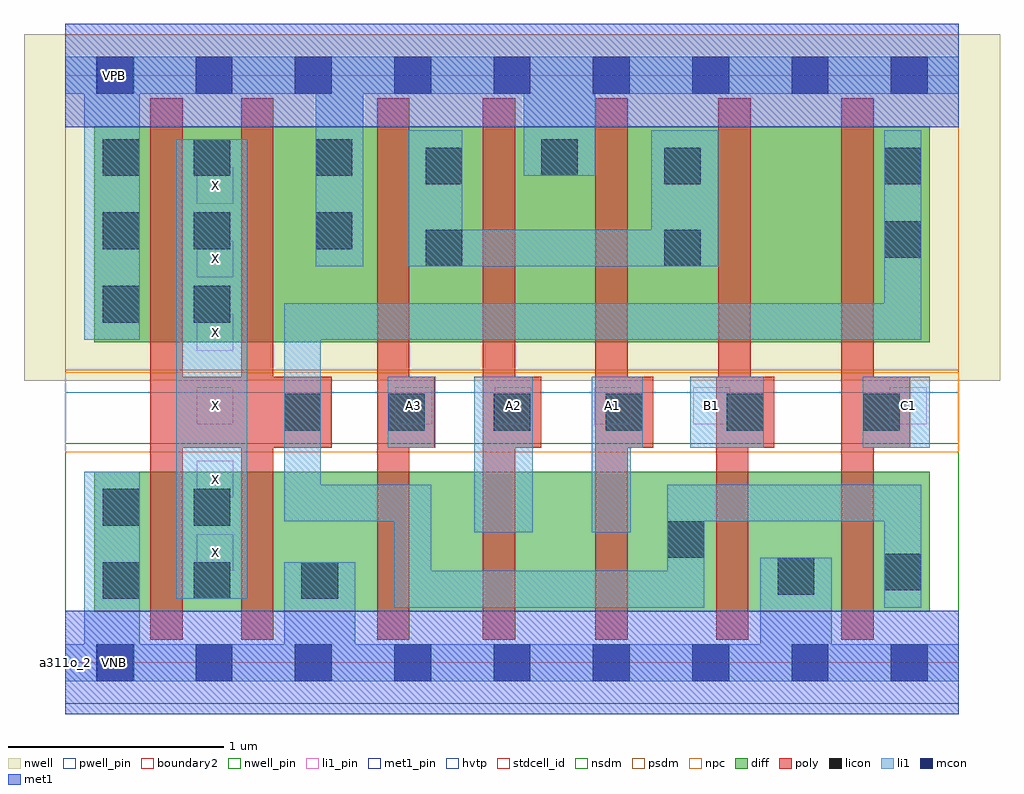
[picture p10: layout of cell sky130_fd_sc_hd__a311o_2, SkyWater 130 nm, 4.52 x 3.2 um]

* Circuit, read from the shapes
.subckt sky130_fd_sc_hd__a311o_2 A1 A2 A3 B1 C1 VGND VNB VPB VPWR X
XM1 X n1 VGND VNB sky130_fd_pr__nfet_01v8 w=0.65 l=0.15 m=2
XM2 n2 A3 VGND VNB sky130_fd_pr__nfet_01v8 w=0.65 l=0.15
XM3 n3 A2 n2 VNB sky130_fd_pr__nfet_01v8 w=0.65 l=0.15
XM4 n1 A1 n3 VNB sky130_fd_pr__nfet_01v8 w=0.65 l=0.15
XM5 VGND B1 n1 VNB sky130_fd_pr__nfet_01v8 w=0.65 l=0.15
XM6 n1 C1 VGND VNB sky130_fd_pr__nfet_01v8 w=0.65 l=0.15
XM7 X n1 VPWR VPB sky130_fd_pr__pfet_01v8_hvt w=1 l=0.15 m=2
XM8 n4 A3 VPWR VPB sky130_fd_pr__pfet_01v8_hvt w=1 l=0.15
XM9 VPWR A2 n4 VPB sky130_fd_pr__pfet_01v8_hvt w=1 l=0.15
XM10 n4 A1 VPWR VPB sky130_fd_pr__pfet_01v8_hvt w=1 l=0.15
XM11 n5 B1 n4 VPB sky130_fd_pr__pfet_01v8_hvt w=1 l=0.15
XM12 n1 C1 n5 VPB sky130_fd_pr__pfet_01v8_hvt w=1 l=0.15
.ends

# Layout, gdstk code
import gdstk
lib = gdstk.Library(unit=1e-6, precision=1e-09)
def R(c, l, rs):  # rectangles x0, y0, x1, y1
    for r in rs: c.add(gdstk.rectangle(r[:2], r[2:], *l))
def A(c, l, x, y, w, h, nx, ny, dx, dy):  # array of equal rectangles
    R(c, l, [(x+i*dx, y+j*dy, x+i*dx+w, y+j*dy+h) for i in range(nx) for j in range(ny)])
def P(c, l, *ps):  # polygons
    for p in ps: c.add(gdstk.Polygon(p, *l))
nwell_pin = (64, 16)
nwell = (64, 20)
diff = (65, 20)
poly = (66, 20)
licon = (66, 44)
li1_pin = (67, 16)
li1 = (67, 20)
mcon = (67, 44)
met1_pin = (68, 16)
met1 = (68, 20)
hvtp = (78, 44)
stdcell_id = (81, 4)
nsdm = (93, 44)
psdm = (94, 20)
npc = (95, 20)
pwell_pin = (122, 16)
boundary2 = (236, 0)

sky130_fd_sc_hd__a311o_2 = lib.new_cell('sky130_fd_sc_hd__a311o_2')
R(sky130_fd_sc_hd__a311o_2, nwell_pin, [(0.15,2.635,0.32,2.805)])
R(sky130_fd_sc_hd__a311o_2, nwell, [(-0.19,1.305,4.33,2.91)])
R(sky130_fd_sc_hd__a311o_2, diff, [(0.135,0.235,4.005,0.885), (0.135,1.485,4.005,2.485)])
P(sky130_fd_sc_hd__a311o_2, poly, [(3.915,1.325),(3.745,1.325),(3.745,2.615),(3.595,2.615),(3.595,0.105),(3.745,0.105),(3.745,0.995),(3.915,0.995)],
  [(3.285,1.325),(3.175,1.325),(3.175,2.615),(3.025,2.615),(3.025,1.325),(3.015,1.325),(3.015,0.105),(3.165,0.105),(3.165,0.995),(3.285,0.995)],
  [(2.725,1.325),(2.605,1.325),(2.605,2.615),(2.455,2.615),(2.455,0.105),(2.605,0.105),(2.605,0.995),(2.725,0.995)],
  [(2.205,1.325),(2.085,1.325),(2.085,2.615),(1.935,2.615),(1.935,0.105),(2.085,0.105),(2.085,0.995),(2.205,0.995)],
  [(1.715,1.325),(1.595,1.325),(1.595,2.615),(1.445,2.615),(1.445,0.105),(1.595,0.105),(1.595,0.995),(1.715,0.995)],
  [(1.235,1.325),(0.965,1.325),(0.965,2.615),(0.815,2.615),(0.815,1.325),(0.545,1.325),(0.545,2.615),(0.395,2.615),(0.395,0.105),(0.545,0.105),(0.545,0.995),(0.815,0.995),(0.815,0.105),(0.965,0.105),(0.965,0.995),(1.235,0.995)])
A(sky130_fd_sc_hd__a311o_2, licon, 0.175, 1.575, 0.17, 0.17, 1, 3, 0, 0.34)
A(sky130_fd_sc_hd__a311o_2, licon, 0.595, 1.575, 0.17, 0.17, 1, 3, 0, 0.34)
R(sky130_fd_sc_hd__a311o_2, licon, [(0.175,0.295,0.345,0.465), (0.595,0.295,0.765,0.465), (1.095,0.295,1.265,0.465), (3.3,0.315,3.47,0.485), (3.795,0.335,3.965,0.505), (2.79,0.485,2.96,0.655), (0.175,0.635,0.345,0.805), (0.595,0.635,0.765,0.805), (1.015,1.075,1.185,1.245), (1.495,1.075,1.665,1.245), (1.985,1.075,2.155,1.245), (2.505,1.075,2.675,1.245), (3.065,1.075,3.235,1.245), (3.695,1.075,3.865,1.245), (1.67,1.835,1.84,2.005), (2.775,1.835,2.945,2.005), (3.795,1.875,3.965,2.045), (1.16,1.915,1.33,2.085), (1.67,2.215,1.84,2.385), (2.775,2.215,2.945,2.385), (3.795,2.215,3.965,2.385), (1.16,2.255,1.33,2.425), (2.205,2.255,2.375,2.425)])
A(sky130_fd_sc_hd__a311o_2, li1_pin, 0.61, 0.425, 0.17, 0.17, 1, 6, 0, 0.34)
A(sky130_fd_sc_hd__a311o_2, li1_pin, 1.53, 1.105, 0.17, 0.17, 4, 1, 0.46, 0)
R(sky130_fd_sc_hd__a311o_2, li1_pin, [(3.82,1.105,3.99,1.275)])
R(sky130_fd_sc_hd__a311o_2, li1, [(0.515,0.295,0.845,2.425), (1.895,0.605,2.165,1.325), (1.495,0.995,1.71,1.325), (2.895,0.995,3.235,1.325), (3.695,0.995,4.005,1.325)])
P(sky130_fd_sc_hd__a311o_2, li1, [(4.14,2.805),(0,2.805),(0,2.635),(0.09,2.635),(0.09,1.495),(0.345,1.495),(0.345,2.635),(1.16,2.635),(1.16,1.835),(1.38,1.835),(1.38,2.635),(2.125,2.635),(2.125,2.255),(2.455,2.255),(2.455,2.635),(4.14,2.635)],
  [(3.965,0.825),(2.79,0.825),(2.79,0.425),(1.695,0.425),(1.695,0.825),(1.185,0.825),(1.185,1.495),(3.965,1.495),(3.965,2.465),(3.795,2.465),(3.795,1.665),(1.015,1.665),(1.015,0.655),(1.525,0.655),(1.525,0.255),(2.96,0.255),(2.96,0.655),(3.795,0.655),(3.795,0.255),(3.965,0.255)],
  [(3.025,2.465),(2.715,2.465),(2.715,2.005),(1.84,2.005),(1.84,2.465),(1.59,2.465),(1.59,1.835),(3.025,1.835)],
  [(2.675,1.325),(2.44,1.325),(2.44,0.605),(2.62,0.605),(2.62,0.995),(2.675,0.995)],
  [(4.14,0.085),(3.55,0.085),(3.55,0.485),(3.22,0.485),(3.22,0.085),(1.345,0.085),(1.345,0.465),(1.015,0.465),(1.015,0.085),(0.345,0.085),(0.345,0.885),(0.09,0.885),(0.09,0.085),(0,0.085),(0,-0.085),(4.14,-0.085)])
A(sky130_fd_sc_hd__a311o_2, mcon, 0.145, -0.085, 0.17, 0.17, 9, 2, 0.46, 2.72)
R(sky130_fd_sc_hd__a311o_2, met1_pin, [(0.15,-0.085,0.32,0.085), (0.15,2.635,0.32,2.805)])
R(sky130_fd_sc_hd__a311o_2, hvtp, [(0,1.25,4.14,2.72)])
R(sky130_fd_sc_hd__a311o_2, stdcell_id, [(0,0,4.14,2.72)])
R(sky130_fd_sc_hd__a311o_2, nsdm, [(0,-0.19,4.14,1.015)])
R(sky130_fd_sc_hd__a311o_2, psdm, [(0,1.355,4.14,2.91)])
R(sky130_fd_sc_hd__a311o_2, npc, [(0,0.975,4.14,1.345)])
R(sky130_fd_sc_hd__a311o_2, pwell_pin, [(0.15,-0.085,0.32,0.085)])
R(sky130_fd_sc_hd__a311o_2, boundary2, [(0,0,4.14,2.72)])
sky130_fd_sc_hd__a311o_2.add(gdstk.FlexPath([(0,2.72),(4.14,2.72)], 0.48, ends="flush", simple_path=True, layer=68, datatype=20))  # met1
sky130_fd_sc_hd__a311o_2.add(gdstk.FlexPath([(0,0),(4.14,0)], 0.48, ends="flush", simple_path=True, layer=68, datatype=20))  # met1
sky130_fd_sc_hd__a311o_2.add(gdstk.Label('VPB', (0.23,2.72), layer=64, texttype=5))
sky130_fd_sc_hd__a311o_2.add(gdstk.Label('VNB', (0.23,0), layer=64, texttype=59))
sky130_fd_sc_hd__a311o_2.add(gdstk.Label('VGND', (0.23,0), layer=68, texttype=5))
sky130_fd_sc_hd__a311o_2.add(gdstk.Label('VPWR', (0.23,2.72), layer=68, texttype=5))
sky130_fd_sc_hd__a311o_2.add(gdstk.Label('X', (0.695,2.21), layer=67, texttype=5))
sky130_fd_sc_hd__a311o_2.add(gdstk.Label('C1', (3.905,1.19), layer=67, texttype=5))
sky130_fd_sc_hd__a311o_2.add(gdstk.Label('B1', (2.995,1.19), layer=67, texttype=5))
sky130_fd_sc_hd__a311o_2.add(gdstk.Label('A1', (2.535,1.19), layer=67, texttype=5))
sky130_fd_sc_hd__a311o_2.add(gdstk.Label('A2', (2.075,1.19), layer=67, texttype=5))
sky130_fd_sc_hd__a311o_2.add(gdstk.Label('A3', (1.615,1.19), layer=67, texttype=5))
sky130_fd_sc_hd__a311o_2.add(gdstk.Label('X', (0.695,0.51), layer=67, texttype=5))
sky130_fd_sc_hd__a311o_2.add(gdstk.Label('X', (0.695,0.85), layer=67, texttype=5))
sky130_fd_sc_hd__a311o_2.add(gdstk.Label('X', (0.695,1.19), layer=67, texttype=5))
sky130_fd_sc_hd__a311o_2.add(gdstk.Label('X', (0.695,1.53), layer=67, texttype=5))
sky130_fd_sc_hd__a311o_2.add(gdstk.Label('X', (0.695,1.87), layer=67, texttype=5))
sky130_fd_sc_hd__a311o_2.add(gdstk.Label('a311o_2', (0,0), layer=83, texttype=44))

lib.write_gds('sky130_fd_sc_hd__a311o_2.gds')
